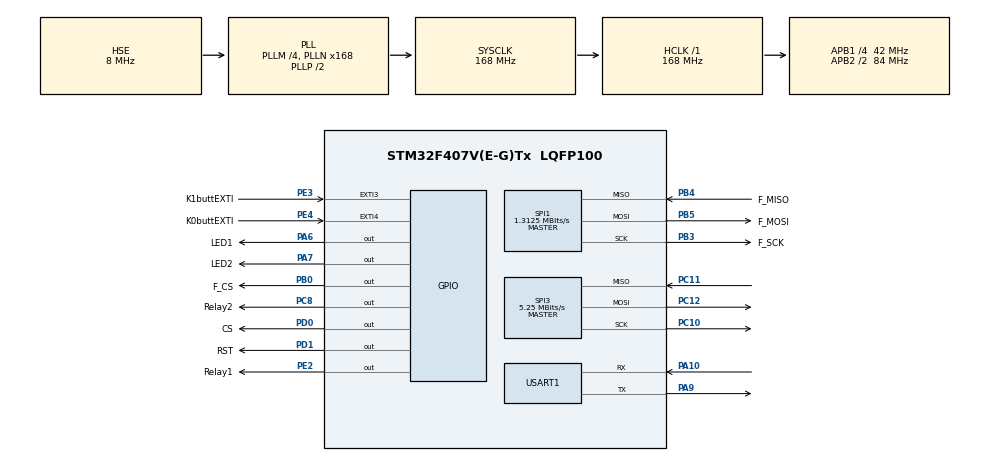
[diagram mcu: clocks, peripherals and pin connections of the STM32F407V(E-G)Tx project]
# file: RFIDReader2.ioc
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Mcu.Family=STM32F4
Mcu.Name=STM32F407V(E-G)Tx
Mcu.Package=LQFP100
NVIC.EXTI3_IRQn=true\:0\:0\:false\:false\:true\:true\:true\:true
NVIC.EXTI4_IRQn=true\:0\:0\:false\:false\:true\:true\:true\:true
NVIC.PriorityGroup=NVIC_PRIORITYGROUP_4
PA10.Mode=Asynchronous
PA10.Signal=USART1_RX
PA13.Mode=Serial_Wire
PA13.Signal=SYS_JTMS-SWDIO
PA14.Mode=Serial_Wire
PA14.Signal=SYS_JTCK-SWCLK
PA6.GPIO_Label=LED1
PA6.GPIO_ModeDefaultOutputPP=GPIO_MODE_OUTPUT_PP
PA6.GPIO_PuPd=GPIO_NOPULL
PA6.PinState=GPIO_PIN_RESET
PA6.Signal=GPIO_Output
PA7.GPIO_Label=LED2
PA7.GPIO_PuPd=GPIO_NOPULL
PA7.PinState=GPIO_PIN_RESET
PA7.Signal=GPIO_Output
PA9.Mode=Asynchronous
PA9.Signal=USART1_TX
PB0.GPIO_Label=F_CS
PB0.GPIO_Speed=GPIO_SPEED_FREQ_VERY_HIGH
PB0.PinState=GPIO_PIN_SET
PB0.Signal=GPIO_Output
PB3.GPIO_Label=F_SCK
PB3.Mode=Full_Duplex_Master
PB3.Signal=SPI1_SCK
PB4.GPIO_Label=F_MISO
PB4.Mode=Full_Duplex_Master
PB4.Signal=SPI1_MISO
PB5.GPIO_Label=F_MOSI
PB5.Mode=Full_Duplex_Master
PB5.Signal=SPI1_MOSI
PC10.Mode=Full_Duplex_Master
PC10.Signal=SPI3_SCK
PC11.Mode=Full_Duplex_Master
PC11.Signal=SPI3_MISO
PC12.Mode=Full_Duplex_Master
PC12.Signal=SPI3_MOSI
PC14-OSC32_IN.Mode=LSE-External-Oscillator
PC14-OSC32_IN.Signal=RCC_OSC32_IN
PC15-OSC32_OUT.Mode=LSE-External-Oscillator
PC15-OSC32_OUT.Signal=RCC_OSC32_OUT
PC8.GPIO_Label=Relay2
PC8.Signal=GPIO_Output
PD0.GPIO_Label=CS
PD0.Signal=GPIO_Output
PD1.GPIO_Label=RST
PD1.Signal=GPIO_Output
PE2.GPIO_Label=Relay1
PE2.Signal=GPIO_Output
PE3.GPIO_Label=K1buttEXTI
PE3.GPIO_PuPd=GPIO_PULLUP
PE3.Signal=GPXTI3
PE4.GPIO_Label=K0buttEXTI
PE4.GPIO_PuPd=GPIO_PULLUP
PE4.Signal=GPXTI4
PH0-OSC_IN.Mode=HSE-External-Oscillator
PH0-OSC_IN.Signal=RCC_OSC_IN
PH1-OSC_OUT.Mode=HSE-External-Oscillator
PH1-OSC_OUT.Signal=RCC_OSC_OUT
ProjectManager.HeapSize=0x200
ProjectManager.StackSize=0x400
ProjectManager.TargetToolchain=CMake
RCC.48MHZClocksFreq_Value=48000000
RCC.AHBFreq_Value=168000000
RCC.APB1CLKDivider=RCC_HCLK_DIV4
RCC.APB1Freq_Value=42000000
RCC.APB1TimFreq_Value=84000000
RCC.APB2CLKDivider=RCC_HCLK_DIV2
RCC.APB2Freq_Value=84000000
RCC.APB2TimFreq_Value=168000000
RCC.CortexFreq_Value=168000000
RCC.HCLKFreq_Value=168000000
RCC.HSE_VALUE=8000000
RCC.HSI_VALUE=16000000
RCC.PLLM=4
RCC.PLLN=168
RCC.PLLQ=7
RCC.PLLSourceVirtual=RCC_PLLSOURCE_HSE
RCC.SYSCLKFreq_VALUE=168000000
RCC.SYSCLKSource=RCC_SYSCLKSOURCE_PLLCLK
RCC.VCOOutputFreq_Value=336000000
SPI1.BaudRatePrescaler=SPI_BAUDRATEPRESCALER_64
SPI1.CalculateBaudRate=1.3125 MBits/s
SPI1.Direction=SPI_DIRECTION_2LINES
SPI1.Mode=SPI_MODE_MASTER
SPI1.VirtualType=VM_MASTER
SPI3.BaudRatePrescaler=SPI_BAUDRATEPRESCALER_8
SPI3.CalculateBaudRate=5.25 MBits/s
SPI3.Direction=SPI_DIRECTION_2LINES
SPI3.Mode=SPI_MODE_MASTER
SPI3.VirtualType=VM_MASTER
USART1.VirtualMode=VM_ASYNC
board=custom

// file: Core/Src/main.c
/* USER CODE BEGIN Header */
/**
 ******************************************************************************
 * @file           : main.c
 * @brief          : Main program body
 ******************************************************************************
 * @attention
 *
 * Copyright (c) 2026 STMicroelectronics.
 * All rights reserved.
 *
 * This software is licensed under terms that can be found in the LICENSE file
 * in the root directory of this software component.
 * If no LICENSE file comes with this software, it is provided AS-IS.
 *
 ******************************************************************************
 */
/* USER CODE END Header */
#include "main.h"

/* USER CODE BEGIN Includes */
#include "MFRC522_STM32.h"
#include <stdbool.h>
#include "w25qxx.h"
#include "string.h"
/* USER CODE END Includes */

/* USER CODE BEGIN PM */

#define MAX_CARDS 50        // Максимальное количество карт в памяти
#define CARD_SIZE 4         // UID bytes
#define FLASH_ADDR 0x000000 // Начальный адрес в W25Q16 для нашей базы
#define LED1_Off() HAL_GPIO_WritePin(LED1_GPIO_Port, LED1_Pin, GPIO_PIN_SET)
#define LED1_On() HAL_GPIO_WritePin(LED1_GPIO_Port, LED1_Pin, GPIO_PIN_RESET)
#define LED2_Off() HAL_GPIO_WritePin(LED2_GPIO_Port, LED2_Pin, GPIO_PIN_SET);
#define LED2_On() HAL_GPIO_WritePin(LED2_GPIO_Port, LED2_Pin, GPIO_PIN_RESET);

/* USER CODE END PM */

SPI_HandleTypeDef hspi1;
SPI_HandleTypeDef hspi3;

UART_HandleTypeDef huart1;

/* USER CODE BEGIN PV */

// RFID
MFRC522_t rfid;
uint8_t card_uid[4];
typedef enum
{
  MODE_READ,  // Режим обычного чтения (проверка карт)
  MODE_RECORD // Режим записи новых карт
} WorkMode;
WorkMode current_mode = MODE_READ;

// CARD DB
uint8_t card_buffer[MAX_CARDS][CARD_SIZE]; // Буфер карт в ОЗУ
uint16_t card_count = 0;

// FLASH W25Q16
uint8_t w25_rx_buf[1025];
uint8_t w25_tx_buf[10];

char str1[30];

// Буфер приёма CDC — объявлен extern в main.h, используется в usbd_cdc_if.c
volatile uint8_t cdc_rx_buf[64];
volatile uint8_t cdc_rx_len = 0;
volatile uint8_t cdc_rx_ready = 0;

volatile uint8_t button_pressed = 0; // Флаг нажатия кнопки
volatile uint8_t erase_flag = 0;
/* USER CODE END PV */

void SystemClock_Config(void);
static void MX_GPIO_Init(void);
static void MX_SPI3_Init(void);
static void MX_SPI1_Init(void);
static void MX_USART1_UART_Init(void);

/* USER CODE BEGIN 0 */
void HAL_GPIO_EXTI_Callback(uint16_t GPIO_Pin)
{
  if (GPIO_Pin == K1buttEXTI_Pin)
  {
    // Простейший программный антидребезг на базе системных тиков
    static uint32_t last_press_tick = 0;
    uint32_t current_tick = HAL_GetTick();

    if (current_tick - last_press_tick > 250) // 250 мс таймаут
    {
      button_pressed = 1; // Просто взводим флаг для main()
      last_press_tick = current_tick;
    }
  }
  if (GPIO_Pin == K0buttEXTI_Pin){
    erase_flag = 1;
  }
}

// Перенаправление printf в USART1

int _write(int file, char *ptr, int len)
{
  if (HAL_UART_Transmit(&huart1, (uint8_t *)ptr, len, 1000) == HAL_OK)
    return len;
  return 0;
}

/*
@brief Открывает Реле1 на X миллисекунд, затем закрывает его.
*/
static void relay1_open(int x)
{
  HAL_GPIO_WritePin(Relay1_GPIO_Port, Relay1_Pin, GPIO_PIN_SET);
  printf("RELAY1_OK\r\n");
  HAL_Delay(x);
  HAL_GPIO_WritePin(Relay1_GPIO_Port, Relay1_Pin, GPIO_PIN_RESET);
  printf("RELAY1_CLOSED\r\n");
}

void Save_Buffer_To_Flash(void) {
    uint8_t temp_page[256] = {0};

    // Записываем размер базы в первые два байта
    temp_page[0] = (card_count >> 8) & 0xFF;
    temp_page[1] = card_count & 0xFF;

    // Копируем накопленные карты следом за заголовком
    if (card_count > 0) {
        memcpy(&temp_page[2], card_buffer, card_count * CARD_SIZE);
    }

    // Стираем сектор перед записью новой информации
    W25_Erase_Sector(FLASH_ADDR);

    // Записываем страницу (размер: 2 байта заголовка + карты)
    W25_Write_Page(FLASH_ADDR, temp_page, 2 + (card_count * CARD_SIZE));
}

void Load_Buffer_From_Flash(void) {
    uint8_t header[2];
    // Читаем только заголовок, чтобы узнать количество карт
    W25_Read_data(FLASH_ADDR, header, 2);
    card_count = (header[0] << 8) | header[1];

    // Если флешка пустая (0xFFFF) или данные повреждены
    if (card_count == 0xFFFF || card_count > MAX_CARDS) {
        card_count = 0;
        return;
    }

    // Если карты есть, вычитываем их напрямую в наш двумерный массив ОЗУ
    if (card_count > 0) {
        W25_Read_data(FLASH_ADDR + 2, (uint8_t*)card_buffer, card_count * CARD_SIZE);
    }
    printf("Loaded %d cards from flash.\r\n", card_count);
}

/* USER CODE END 0 */

int main(void)
{

  /* MCU Configuration--------------------------------------------------------*/

  /* Reset of all peripherals, Initializes the Flash interface and the Systick. */
  HAL_Init();

  /* Configure the system clock */
  SystemClock_Config();

  /* Initialize all configured peripherals */
  MX_GPIO_Init();
  MX_SPI3_Init();
  MX_SPI1_Init();
  MX_USART1_UART_Init();
  /* USER CODE BEGIN 2 */
  // BBBBBBBBBBBBBBBBBBBBBBBBBBBBBBBBBBBBBBBBBBBBBBBBBBBBBBBBBBBBBBBBBBBBBBBBBBBBBBBBBBBBBBBBBBBBBBBBBBBBBBBBBBBBBBBBBBBBBBBBBBBBBBBBBBBBBBBBBBBBBBBBBBBBBBBBBBBBBBBBBBBBB
  uint32_t w25_id = 0;
  w25_id = W25_Ini();
  printf("W25Qxx ID: 0x%06X\r\n", w25_id);
  current_mode = MODE_READ;
  Load_Buffer_From_Flash();
  LED1_Off();
  LED2_Off();

  // Привязываем периферию
  rfid.hspi = &hspi3;
  rfid.csPort = GPIOD;
  rfid.csPin = CS_Pin; // PD0
  rfid.rstPort = GPIOD;
  rfid.rstPin = RST_Pin; // PD1

  // Инициализируем сам чип RC522
  MFRC522_Init(&rfid);
  MFRC522_AntennaOn(&rfid);

  /* USER CODE END 2 */

  /* Infinite loop */
  /* USER CODE BEGIN WHILE */

  /*
  TODO:
  1. Реализовать режим записи новых карт (нажатие кнопки переводит в режим записи, сканирование карты сохраняет её UID в память, повторное нажатие кнопки возвращает в режим чтения)
  2. Реализовать хранение UID карт в W25Q16, подряд UID карт по 4 байта)
  3. Реализовать удаление всех карт из памяти - очистка первых байт памяти
  4. Реализовать удаление конкретной карты из памяти - поиск UID в памяти и удаление его (можно просто затирать 4 байта нулями)
  5. В режиме чтения считывать сохраненные карты и включать реле если совпадание найдено.
  */
  while (1)
  {
    if(erase_flag){
      W25_Erase_Sector(FLASH_ADDR);
      erase_flag = 0;
      current_mode = MODE_READ;
      Load_Buffer_From_Flash();
      printf("Erased \r\n");
    }

    // 1. ОБРАБОТКА НАЖАТИЯ КНОПКИ (БЕЗОПАСНЫЙ КОНТЕКСТ)
    if (button_pressed)
    {
      button_pressed = 0; // Сбрасываем флаг прерывания

      if (current_mode == MODE_READ)
      {
        current_mode = MODE_RECORD;
        printf("\r\n[MODE] Switched to RECORD mode.\r\n");
        LED1_On(); // Включаем светодиод записи
      }
      else if (current_mode == MODE_RECORD)
      {
        printf("\r\n[MODE] Saving database to Flash...\r\n");
        Save_Buffer_To_Flash(); // Теперь это вызывать абсолютно БЕЗОПАСНО!
        printf("[MODE] Saved. Total cards: %d\r\n", card_count);

        current_mode = MODE_READ;
        LED1_Off(); // Выключаем светодиод
        printf("[MODE] Switched to READ mode.\r\n");
      }
    }
uint8_t atqa[2];
    // 2. РАБОТА С РЕЖИМАМИ И RFID
    // Вместо блокирующей waitcardDetect используем одиночный RequestA
    if (MFRC522_RequestA(&rfid, atqa) == STATUS_OK)
    {

      // Если карта ответила, пробуем прочитать UID
      if (MFRC522_ReadUid(&rfid, card_uid) == STATUS_OK)
      {
        if (current_mode == MODE_READ)
        {
          printf("Card detected: %02X %02X %02X %02X\r\n", card_uid[0], card_uid[1], card_uid[2], card_uid[3]);
          bool found = false;
          for (uint16_t i = 0; i < card_count; i++)
          {
            if (memcmp(card_buffer[i], card_uid, CARD_SIZE) == 0)
            {
              found = true;
              break;
            }
          }

          if (found)
          {
            printf("Card is authorized. Activating relay.\r\n");
            relay1_open(1000); // Открываем реле на 1 секунду
          }
          else
          {
            printf("Card is NOT authorized.\r\n");
          }
        }
        else if (current_mode == MODE_RECORD)
        {
          printf("Card detected for recording: %02X %02X %02X %02X\r\n", card_uid[0], card_uid[1], card_uid[2], card_uid[3]);
          bool already_exists = false;
          for (uint16_t i = 0; i < card_count; i++)
          {
            if (memcmp(card_buffer[i], card_uid, CARD_SIZE) == 0)
            {
              already_exists = true;
              break;
            }
          }

          if (!already_exists && card_count < MAX_CARDS)
          {
            memcpy(card_buffer[card_count], card_uid, CARD_SIZE);
            card_count++;
            printf("Card added to RAM buffer. Total in RAM: %d. (Press button to save to Flash)\r\n", card_count);
          }
          else if (already_exists)
          {
            printf("Card already exists in the database.\r\n");
          }
          else
          {
            printf("Database is full. Cannot record more cards.\r\n");
          }
        }

        // Ждем, пока карту уберут от считывателя, чтобы не спамить в цикле
        waitcardRemoval(&rfid);
      }
    }

    HAL_Delay(50); // Небольшая пауза для разгрузки процессора и стабильности опроса
    /* USER CODE END WHILE */

  }
}

void SystemClock_Config(void)
{
  RCC_OscInitTypeDef RCC_OscInitStruct = {0};
  RCC_ClkInitTypeDef RCC_ClkInitStruct = {0};

  /** Configure the main internal regulator output voltage
  */
  __HAL_RCC_PWR_CLK_ENABLE();
  __HAL_PWR_VOLTAGESCALING_CONFIG(PWR_REGULATOR_VOLTAGE_SCALE1);

  /** Initializes the RCC Oscillators according to the specified parameters
  * in the RCC_OscInitTypeDef structure.
  */
  RCC_OscInitStruct.OscillatorType = RCC_OSCILLATORTYPE_HSE;
  RCC_OscInitStruct.HSEState = RCC_HSE_ON;
  RCC_OscInitStruct.PLL.PLLState = RCC_PLL_ON;
  RCC_OscInitStruct.PLL.PLLSource = RCC_PLLSOURCE_HSE;
  RCC_OscInitStruct.PLL.PLLM = 4;
  RCC_OscInitStruct.PLL.PLLN = 168;
  RCC_OscInitStruct.PLL.PLLP = RCC_PLLP_DIV2;
  RCC_OscInitStruct.PLL.PLLQ = 7;
  if (HAL_RCC_OscConfig(&RCC_OscInitStruct) != HAL_OK)
  {
    Error_Handler();
  }

  /** Initializes the CPU, AHB and APB buses clocks
  */
  RCC_ClkInitStruct.ClockType = RCC_CLOCKTYPE_HCLK|RCC_CLOCKTYPE_SYSCLK
                              |RCC_CLOCKTYPE_PCLK1|RCC_CLOCKTYPE_PCLK2;
  RCC_ClkInitStruct.SYSCLKSource = RCC_SYSCLKSOURCE_PLLCLK;
  RCC_ClkInitStruct.AHBCLKDivider = RCC_SYSCLK_DIV1;
  RCC_ClkInitStruct.APB1CLKDivider = RCC_HCLK_DIV4;
  RCC_ClkInitStruct.APB2CLKDivider = RCC_HCLK_DIV2;

  if (HAL_RCC_ClockConfig(&RCC_ClkInitStruct, FLASH_LATENCY_5) != HAL_OK)
  {
    Error_Handler();
  }
}

static void MX_SPI1_Init(void)
{

  /* SPI1 parameter configuration*/
  hspi1.Instance = SPI1;
  hspi1.Init.Mode = SPI_MODE_MASTER;
  hspi1.Init.Direction = SPI_DIRECTION_2LINES;
  hspi1.Init.DataSize = SPI_DATASIZE_8BIT;
  hspi1.Init.CLKPolarity = SPI_POLARITY_LOW;
  hspi1.Init.CLKPhase = SPI_PHASE_1EDGE;
  hspi1.Init.NSS = SPI_NSS_SOFT;
  hspi1.Init.BaudRatePrescaler = SPI_BAUDRATEPRESCALER_64;
  hspi1.Init.FirstBit = SPI_FIRSTBIT_MSB;
  hspi1.Init.TIMode = SPI_TIMODE_DISABLE;
  hspi1.Init.CRCCalculation = SPI_CRCCALCULATION_DISABLE;
  hspi1.Init.CRCPolynomial = 10;
  if (HAL_SPI_Init(&hspi1) != HAL_OK)
  {
    Error_Handler();
  }

}

static void MX_SPI3_Init(void)
{

  /* SPI3 parameter configuration*/
  hspi3.Instance = SPI3;
  hspi3.Init.Mode = SPI_MODE_MASTER;
  hspi3.Init.Direction = SPI_DIRECTION_2LINES;
  hspi3.Init.DataSize = SPI_DATASIZE_8BIT;
  hspi3.Init.CLKPolarity = SPI_POLARITY_LOW;
  hspi3.Init.CLKPhase = SPI_PHASE_1EDGE;
  hspi3.Init.NSS = SPI_NSS_SOFT;
  hspi3.Init.BaudRatePrescaler = SPI_BAUDRATEPRESCALER_8;
  hspi3.Init.FirstBit = SPI_FIRSTBIT_MSB;
  hspi3.Init.TIMode = SPI_TIMODE_DISABLE;
  hspi3.Init.CRCCalculation = SPI_CRCCALCULATION_DISABLE;
  hspi3.Init.CRCPolynomial = 10;
  if (HAL_SPI_Init(&hspi3) != HAL_OK)
  {
    Error_Handler();
  }

}

static void MX_USART1_UART_Init(void)
{

  huart1.Instance = USART1;
  huart1.Init.BaudRate = 115200;
  huart1.Init.WordLength = UART_WORDLENGTH_8B;
  huart1.Init.StopBits = UART_STOPBITS_1;
  huart1.Init.Parity = UART_PARITY_NONE;
  huart1.Init.Mode = UART_MODE_TX_RX;
  huart1.Init.HwFlowCtl = UART_HWCONTROL_NONE;
  huart1.Init.OverSampling = UART_OVERSAMPLING_16;
  if (HAL_UART_Init(&huart1) != HAL_OK)
  {
    Error_Handler();
  }

}

static void MX_GPIO_Init(void)
{
  GPIO_InitTypeDef GPIO_InitStruct = {0};

  /* GPIO Ports Clock Enable */
  __HAL_RCC_GPIOE_CLK_ENABLE();
  __HAL_RCC_GPIOC_CLK_ENABLE();
  __HAL_RCC_GPIOH_CLK_ENABLE();
  __HAL_RCC_GPIOA_CLK_ENABLE();
  __HAL_RCC_GPIOB_CLK_ENABLE();
  __HAL_RCC_GPIOD_CLK_ENABLE();

  /*Configure GPIO pin Output Level */
  HAL_GPIO_WritePin(Relay1_GPIO_Port, Relay1_Pin, GPIO_PIN_RESET);

  /*Configure GPIO pin Output Level */
  HAL_GPIO_WritePin(GPIOA, LED1_Pin|LED2_Pin, GPIO_PIN_RESET);

  /*Configure GPIO pin Output Level */
  HAL_GPIO_WritePin(F_CS_GPIO_Port, F_CS_Pin, GPIO_PIN_SET);

  /*Configure GPIO pin Output Level */
  HAL_GPIO_WritePin(Relay2_GPIO_Port, Relay2_Pin, GPIO_PIN_RESET);

  /*Configure GPIO pin Output Level */
  HAL_GPIO_WritePin(GPIOD, CS_Pin|RST_Pin, GPIO_PIN_RESET);

  /*Configure GPIO pin : Relay1_Pin */
  GPIO_InitStruct.Pin = Relay1_Pin;
  GPIO_InitStruct.Mode = GPIO_MODE_OUTPUT_PP;
  GPIO_InitStruct.Pull = GPIO_NOPULL;
  GPIO_InitStruct.Speed = GPIO_SPEED_FREQ_LOW;
  HAL_GPIO_Init(Relay1_GPIO_Port, &GPIO_InitStruct);

  /*Configure GPIO pins : K1buttEXTI_Pin K0buttEXTI_Pin */
  GPIO_InitStruct.Pin = K1buttEXTI_Pin|K0buttEXTI_Pin;
  GPIO_InitStruct.Mode = GPIO_MODE_IT_RISING;
  GPIO_InitStruct.Pull = GPIO_PULLUP;
  HAL_GPIO_Init(GPIOE, &GPIO_InitStruct);

  /*Configure GPIO pins : LED1_Pin LED2_Pin */
  GPIO_InitStruct.Pin = LED1_Pin|LED2_Pin;
  GPIO_InitStruct.Mode = GPIO_MODE_OUTPUT_PP;
  GPIO_InitStruct.Pull = GPIO_NOPULL;
  GPIO_InitStruct.Speed = GPIO_SPEED_FREQ_LOW;
  HAL_GPIO_Init(GPIOA, &GPIO_InitStruct);

  /*Configure GPIO pin : F_CS_Pin */
  GPIO_InitStruct.Pin = F_CS_Pin;
  GPIO_InitStruct.Mode = GPIO_MODE_OUTPUT_PP;
  GPIO_InitStruct.Pull = GPIO_NOPULL;
  GPIO_InitStruct.Speed = GPIO_SPEED_FREQ_VERY_HIGH;
  HAL_GPIO_Init(F_CS_GPIO_Port, &GPIO_InitStruct);

  /*Configure GPIO pin : Relay2_Pin */
  GPIO_InitStruct.Pin = Relay2_Pin;
  GPIO_InitStruct.Mode = GPIO_MODE_OUTPUT_PP;
  GPIO_InitStruct.Pull = GPIO_NOPULL;
  GPIO_InitStruct.Speed = GPIO_SPEED_FREQ_LOW;
  HAL_GPIO_Init(Relay2_GPIO_Port, &GPIO_InitStruct);

  /*Configure GPIO pins : CS_Pin RST_Pin */
  GPIO_InitStruct.Pin = CS_Pin|RST_Pin;
  GPIO_InitStruct.Mode = GPIO_MODE_OUTPUT_PP;
  GPIO_InitStruct.Pull = GPIO_NOPULL;
  GPIO_InitStruct.Speed = GPIO_SPEED_FREQ_LOW;
  HAL_GPIO_Init(GPIOD, &GPIO_InitStruct);

  /* EXTI interrupt init*/
  HAL_NVIC_SetPriority(EXTI3_IRQn, 0, 0);
  HAL_NVIC_EnableIRQ(EXTI3_IRQn);

  HAL_NVIC_SetPriority(EXTI4_IRQn, 0, 0);
  HAL_NVIC_EnableIRQ(EXTI4_IRQn);

}

void Error_Handler(void)
{
  __disable_irq();
  while (1)
  {
  }
}
